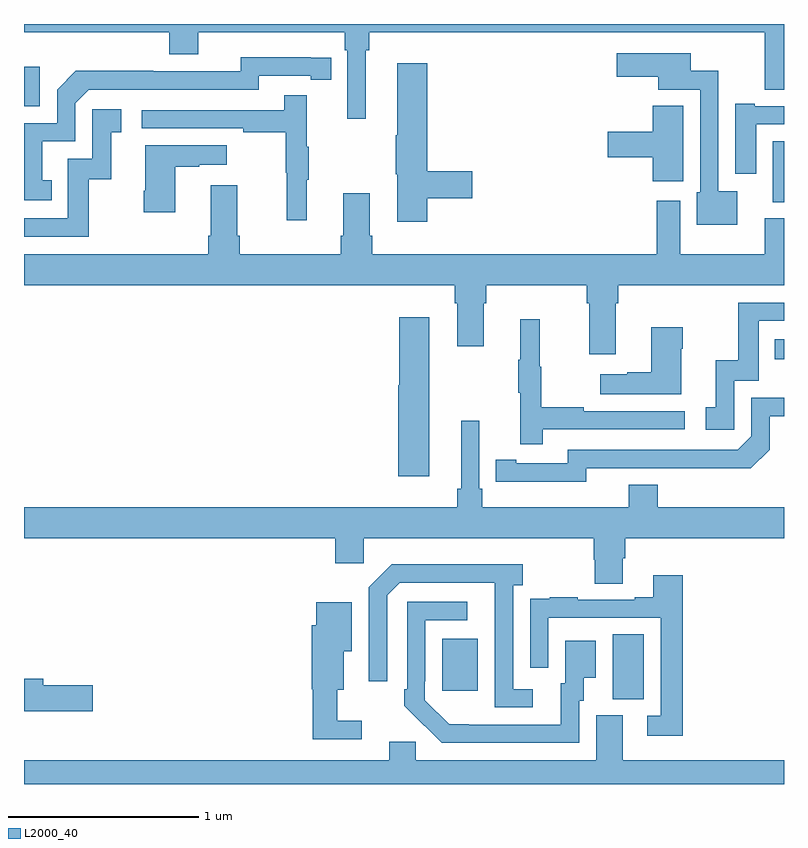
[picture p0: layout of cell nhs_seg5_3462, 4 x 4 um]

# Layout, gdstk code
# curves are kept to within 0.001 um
import gdstk
lib = gdstk.Library(unit=1e-6, precision=1e-09)
def R(c, l, rs):  # rectangles x0, y0, x1, y1
    for r in rs: c.add(gdstk.rectangle(r[:2], r[2:], *l))
def P(c, l, *ps):  # polygons
    for p in ps: c.add(gdstk.Polygon(p, *l))
L2000_40 = (2000, 40)

nhs_seg5_3462 = lib.new_cell('nhs_seg5_3462')
R(nhs_seg5_3462, L2000_40, [(318.098,857.245,318.262,857.588), (317.201,857.289,317.389,857.563), (318.952,859.035,319,859.141), (318.941,859.862,319,860.182), (315,860.367,315.084,860.575)])
P(nhs_seg5_3462, L2000_40, [(316.798,860.66),(316.817,860.66),(316.817,860.756),(318.899,860.756),(318.899,860.452),(319,860.452),(319,860.799),(315,860.799),(315,860.756),(315.764,860.756),(315.764,860.639),(315.916,860.639),(315.916,860.756),(316.688,860.756),(316.688,860.66),(316.701,860.66),(316.701,860.301),(316.798,860.301)],
  [(318.754,859.918),(318.654,859.918),(318.654,860.552),(318.508,860.552),(318.508,860.644),(318.12,860.644),(318.12,860.522),(318.338,860.522),(318.338,860.454),(318.558,860.454),(318.558,859.914),(318.542,859.914),(318.542,859.742),(318.754,859.742)],
  [(315.146,859.977),(315.097,859.977),(315.097,860.181),(315.27,860.181),(315.27,860.382),(315.342,860.454),(316.236,860.454),(316.236,860.526),(316.508,860.526),(316.508,860.506),(316.616,860.506),(316.616,860.622),(316.14,860.623),(316.14,860.55),(315.68,860.55),(315.68,860.552),(315.272,860.552),(315.174,860.454),(315.174,860.277),(315,860.277),(315,859.872),(315.146,859.872)],
  [(317.123,859.882),(317.359,859.882),(317.359,860.024),(317.123,860.024),(317.123,860.593),(316.964,860.593),(316.964,860.213),(316.957,860.213),(316.957,860.007),(316.964,860.007),(316.964,859.758),(317.123,859.758)],
  [(316.487,859.979),(316.498,859.979),(316.498,860.153),(316.487,860.153),(316.487,860.425),(316.369,860.425),(316.369,860.346),(315.621,860.346),(315.621,860.25),(316.153,860.25),(316.153,860.23),(316.377,860.23),(316.377,860.016),(316.384,860.016),(316.384,859.767),(316.487,859.767)],
  [(318.853,860.271),(319,860.271),(319,860.367),(318.847,860.367),(318.847,860.38),(318.743,860.38),(318.743,860.01),(318.853,860.01)],
  [(318.469,860.369),(318.308,860.369),(318.308,860.233),(318.072,860.233),(318.072,860.099),(318.308,860.099),(318.308,859.971),(318.469,859.971)],
  [(315.34,859.983),(315.458,859.983),(315.458,860.229),(315.511,860.229),(315.511,860.35),(315.36,860.35),(315.36,860.091),(315.231,860.091),(315.231,859.776),(315,859.776),(315,859.68),(315.34,859.68)],
  [(315.796,860.047),(315.923,860.047),(315.923,860.057),(316.066,860.057),(316.066,860.161),(315.638,860.161),(315.638,859.921),(315.631,859.921),(315.631,859.809),(315.796,859.809)],
  [(315.983,859.951),(315.983,859.684),(315.971,859.684),(315.971,859.588),(315,859.588),(315,859.424),(317.267,859.424),(317.267,859.328),(317.279,859.328),(317.279,859.104),(317.419,859.104),(317.419,859.328),(317.432,859.328),(317.432,859.424),(317.963,859.424),(317.963,859.328),(317.975,859.328),(317.975,859.062),(318.115,859.062),(318.115,859.328),(318.128,859.328),(318.128,859.424),(319,859.424),(319,859.777),(318.899,859.777),(318.899,859.588),(318.454,859.588),(318.454,859.87),(318.329,859.87),(318.329,859.588),(316.832,859.588),(316.832,859.684),(316.819,859.684),(316.819,859.909),(316.679,859.909),(316.679,859.684),(316.667,859.684),(316.667,859.588),(316.136,859.588),(316.136,859.684),(316.123,859.684),(316.123,859.951)],
  [(318.738,858.921),(318.867,858.921),(318.867,859.236),(319,859.236),(319,859.332),(318.759,859.332),(318.759,859.03),(318.641,859.03),(318.641,858.783),(318.588,858.783),(318.588,858.663),(318.738,858.663)],
  [(317.134,859.255),(316.976,859.255),(316.976,858.897),(316.97,858.897),(316.97,858.42),(317.134,858.42)],
  [(317.729,858.666),(318.478,858.666),(318.478,858.762),(317.945,858.762),(317.945,858.782),(317.722,858.782),(317.722,858.996),(317.714,858.996),(317.714,859.246),(317.612,859.246),(317.612,859.033),(317.601,859.033),(317.601,858.859),(317.612,858.859),(317.612,858.588),(317.729,858.588)],
  [(318.46,859.091),(318.468,859.091),(318.468,859.204),(318.302,859.204),(318.302,858.965),(318.176,858.965),(318.176,858.955),(318.033,858.955),(318.033,858.851),(318.46,858.851)],
  [(317.958,858.462),(318.826,858.461),(318.924,858.558),(318.924,858.735),(319,858.735),(319,858.831),(318.828,858.831),(318.828,858.63),(318.756,858.558),(317.862,858.558),(317.862,858.486),(317.59,858.486),(317.59,858.506),(317.482,858.506),(317.482,858.39),(317.958,858.389)],
  [(318.151,857.986),(318.164,857.986),(318.164,858.092),(319,858.092),(319,858.256),(318.335,858.256),(318.335,858.373),(318.182,858.373),(318.182,858.256),(317.411,858.256),(317.411,858.352),(317.397,858.352),(317.397,858.712),(317.3,858.712),(317.3,858.352),(317.281,858.352),(317.281,858.256),(315,858.256),(315,858.092),(316.637,858.092),(316.637,857.961),(316.788,857.961),(316.788,858.092),(317.999,858.092),(317.999,857.979),(318.004,857.979),(318.004,857.854),(318.151,857.854)],
  [(317.677,857.298),(317.574,857.298),(317.574,857.846),(317.626,857.846),(317.626,857.956),(316.936,857.956),(316.815,857.835),(316.815,857.34),(316.911,857.34),(316.911,857.793),(316.977,857.859),(317.477,857.859),(317.478,857.202),(317.677,857.202)],
  [(318.467,857.899),(318.311,857.899),(318.311,857.782),(318.215,857.782),(318.215,857.769),(317.915,857.769),(317.915,857.782),(317.767,857.782),(317.767,857.775),(317.665,857.775),(317.665,857.666),(317.664,857.666),(317.664,857.412),(317.76,857.412),(317.76,857.673),(318.351,857.673),(318.351,857.157),(318.279,857.157),(318.279,857.052),(318.467,857.052)],
  [(317.922,857.238),(317.947,857.238),(317.947,857.357),(318.01,857.357),(318.01,857.554),(317.849,857.554),(317.849,857.328),(317.825,857.328),(317.825,857.112),(317.238,857.113),(317.109,857.241),(317.109,857.341),(317.112,857.341),(317.112,857.661),(317.332,857.661),(317.332,857.757),(317.016,857.757),(317.016,857.299),(317.001,857.299),(317.001,857.211),(317.198,857.016),(317.922,857.016)],
  [(316.777,857.131),(316.648,857.131),(316.648,857.294),(316.684,857.294),(316.684,857.498),(316.726,857.498),(316.726,857.755),(316.538,857.755),(316.538,857.634),(316.514,857.634),(316.514,857.298),(316.519,857.298),(316.519,857.034),(316.777,857.034)],
  [(315.361,857.318),(315.1,857.318),(315.1,857.354),(315,857.354),(315,857.183),(315.361,857.183)],
  [(319,856.924),(318.151,856.924),(318.151,857.16),(318.011,857.16),(318.011,856.924),(317.061,856.924),(317.061,857.022),(316.922,857.022),(316.922,856.924),(315,856.924),(315,856.799),(319,856.799)])

lib.write_gds('nhs_seg5_3462.gds')
